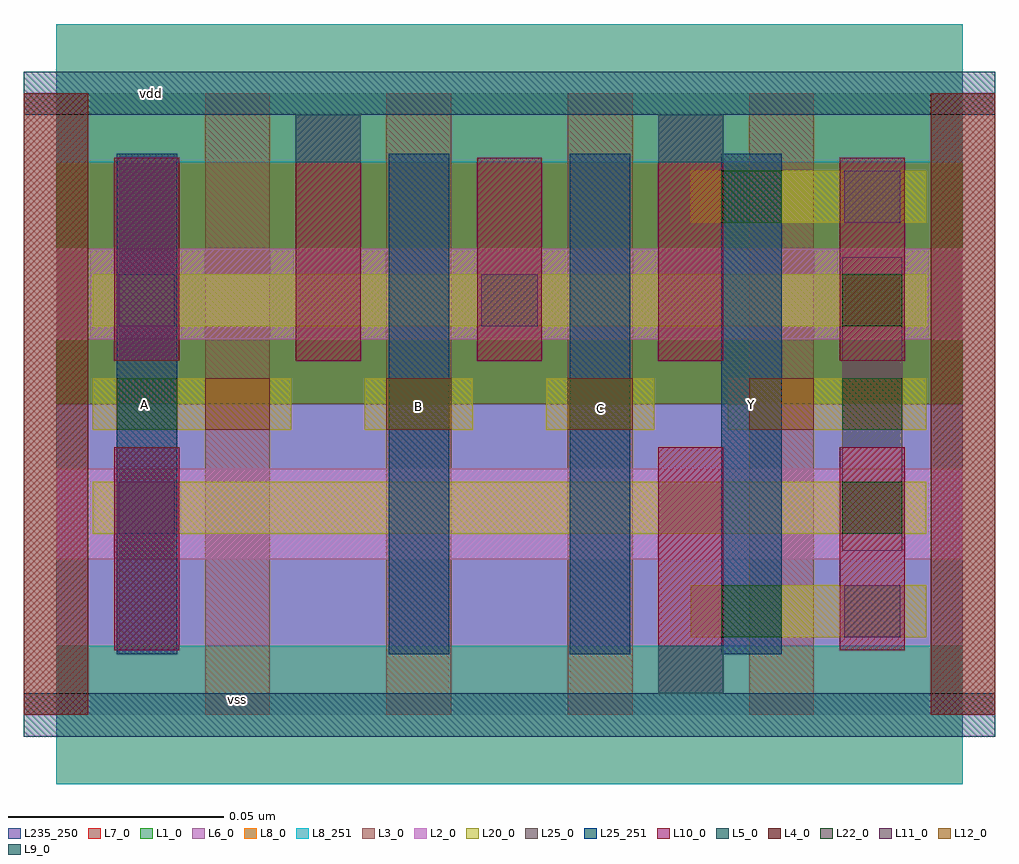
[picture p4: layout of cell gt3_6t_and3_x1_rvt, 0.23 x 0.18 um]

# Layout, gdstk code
import gdstk
lib = gdstk.Library(unit=1e-6, precision=5e-10)
def R(c, l, rs):  # rectangles x0, y0, x1, y1
    for r in rs: c.add(gdstk.rectangle(r[:2], r[2:], *l))
def A(c, l, x, y, w, h, nx, ny, dx, dy):  # array of equal rectangles
    R(c, l, [(x+i*dx, y+j*dy, x+i*dx+w, y+j*dy+h) for i in range(nx) for j in range(ny)])
L1_0 = (1, 0)
L2_0 = (2, 0)
L3_0 = (3, 0)
L4_0 = (4, 0)
L5_0 = (5, 0)
L6_0 = (6, 0)
L7_0 = (7, 0)
L8_0 = (8, 0)
L8_251 = (8, 251)
L9_0 = (9, 0)
L10_0 = (10, 0)
L11_0 = (11, 0)
L12_0 = (12, 0)
L20_0 = (20, 0)
L22_0 = (22, 0)
L25_0 = (25, 0)
L25_251 = (25, 251)
L235_250 = (235, 250)

gt3_6t_and3_x1_rvt = lib.new_cell('gt3_6t_and3_x1_rvt')
R(gt3_6t_and3_x1_rvt, L1_0, [(0,0.072,0.21,0.144)])
R(gt3_6t_and3_x1_rvt, L2_0, [(0,0.036,0.21,0.057), (0,0.087,0.21,0.108)])
A(gt3_6t_and3_x1_rvt, L3_0, -0.0075, 0, 0.015, 0.144, 6, 1, 0.042, 0)
R(gt3_6t_and3_x1_rvt, L4_0, [(-0.0075,0,0.0075,0.144), (0.2025,0,0.2175,0.144)])
R(gt3_6t_and3_x1_rvt, L5_0, [(-0.0075,-0.005,0.2175,0.005), (-0.0075,0.139,0.2175,0.149)])
R(gt3_6t_and3_x1_rvt, L6_0, [(0,0,0.21,0.072)])
R(gt3_6t_and3_x1_rvt, L7_0, [(0,0.072,0.21,0.144)])
R(gt3_6t_and3_x1_rvt, L8_0, [(0,-0.016,0.21,0.016), (0,0.128,0.21,0.16)])
R(gt3_6t_and3_x1_rvt, L8_251, [(0,-0.016,0.21,0.016), (0,0.128,0.21,0.16)])
R(gt3_6t_and3_x1_rvt, L9_0, [(0.1395,0.005,0.1545,0.016), (0.0555,0.128,0.0705,0.139), (0.1395,0.128,0.1545,0.139)])
A(gt3_6t_and3_x1_rvt, L10_0, 0.0135, 0.082, 0.015, 0.047, 3, 1, 0.084, 0)
R(gt3_6t_and3_x1_rvt, L10_0, [(0.1395,0.005,0.1545,0.062), (0.0135,0.015,0.0285,0.062), (0.1815,0.015,0.1965,0.062), (0.0555,0.082,0.0705,0.139), (0.1395,0.082,0.1545,0.139)])
R(gt3_6t_and3_x1_rvt, L11_0, [(0.1825,0.018,0.1955,0.03), (0.0145,0.042,0.0275,0.054), (0.0145,0.09,0.0275,0.102), (0.0985,0.09,0.1115,0.102), (0.1825,0.114,0.1955,0.126)])
A(gt3_6t_and3_x1_rvt, L12_0, 0.0345, 0.066, 0.015, 0.012, 4, 1, 0.042, 0)
R(gt3_6t_and3_x1_rvt, L20_0, [(0.147,0.018,0.2015,0.03), (0.0085,0.042,0.2015,0.054), (0.0085,0.066,0.0545,0.078), (0.0715,0.066,0.0965,0.078), (0.1135,0.066,0.1385,0.078), (0.1555,0.066,0.2015,0.078), (0.0085,0.09,0.2015,0.102), (0.147,0.114,0.2015,0.126)])
A(gt3_6t_and3_x1_rvt, L22_0, 0.182, 0.042, 0.014, 0.012, 1, 3, 0, 0.024)
R(gt3_6t_and3_x1_rvt, L22_0, [(0.154,0.018,0.168,0.03), (0.014,0.066,0.028,0.078), (0.077,0.066,0.091,0.078), (0.119,0.066,0.133,0.078), (0.154,0.114,0.168,0.126)])
R(gt3_6t_and3_x1_rvt, L25_0, [(0.014,0.014,0.028,0.13), (0.077,0.014,0.091,0.13), (0.119,0.014,0.133,0.13), (0.154,0.014,0.168,0.13), (0.182,0.038,0.196,0.106)])
R(gt3_6t_and3_x1_rvt, L25_251, [(0.014,0.014,0.028,0.13), (0.077,0.014,0.091,0.13), (0.119,0.014,0.133,0.13), (0.154,0.014,0.168,0.13)])
R(gt3_6t_and3_x1_rvt, L235_250, [(0,0,0.21,0.144)])
gt3_6t_and3_x1_rvt.add(gdstk.Label('vss', (0.042,0.0035), layer=8, texttype=251))
gt3_6t_and3_x1_rvt.add(gdstk.Label('vdd', (0.022,0.144), layer=8, texttype=251))
gt3_6t_and3_x1_rvt.add(gdstk.Label('C', (0.126,0.071), layer=25, texttype=251))
gt3_6t_and3_x1_rvt.add(gdstk.Label('Y', (0.161,0.072), layer=25, texttype=251))
gt3_6t_and3_x1_rvt.add(gdstk.Label('B', (0.084,0.0715), layer=25, texttype=251))
gt3_6t_and3_x1_rvt.add(gdstk.Label('A', (0.0205,0.072), layer=25, texttype=251))

lib.write_gds('gt3_6t_and3_x1_rvt.gds')
